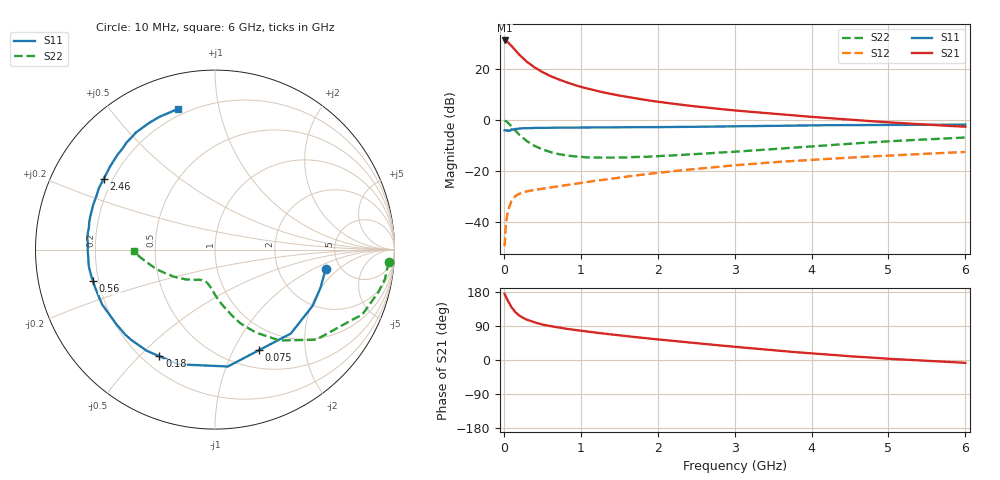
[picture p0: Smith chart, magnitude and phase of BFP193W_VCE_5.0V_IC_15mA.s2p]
! (c) 2016  Infineon Technologies AG, Munich
! Infineon Technologies  Discrete & RF Semiconductors
! BFP193W
! VCE = 5.0 V,  IC =  15 mA
! Common Emitter S-Parameters:  Jan 2016
# GHz  S  MA  R  50
!  f  S11  S21  S12  S22
! GHz  MAG  ANG  MAG  ANG  MAG  ANG  MAG  ANG
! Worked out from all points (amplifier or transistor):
!   210 points, 10 MHz to 6 GHz, reference 50 ohm
!   highest |S21| = 31.1 dB at 10 MHz (marker M1)
!   |S21| within 3 dB of that: start of sweep to 125.1 MHz
!   unconditionally stable (mu >= 1): 1.142 GHz to 4.34 GHz
!   at 185 MHz: K = 0.27, MSG = 27.6 dB, |S12| = -29.1 dB
!   at 1.52 GHz: K = 1.09, MAG = 14.1 dB, |S12| = -22.5 dB
!   at 6 GHz: K = 0.93, MSG = 4.9 dB, |S12| = -12.5 dB
!   S11 on the Smith chart (normalised r, x): 10 MHz: 3.83, -1.37; 75 MHz: 0.71, -1.27; 180 MHz: 0.27, -0.57; 560 MHz: 0.18, -0.12; 2.46 GHz: 0.17, +0.28; 6 GHz: 0.17, +0.76
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0.01  0.6262 -10.0  35.87 174.2  0.0034 85.3  0.9695 -4.1
0.02  0.625 -19.9  35.69 170.2  0.0065 79.3  0.9608 -10.0
0.03  0.6279 -29.7  35.21 165.7  0.0099 78.2  0.9405 -14.6
0.05  0.6302 -47.9  33.54 156.7  0.0157 70.0  0.8974 -23.7
0.075  0.6116 -66.2  30.46 148.5  0.0207 61.1  0.8159 -31.9
0.1  0.6552 -83.7  28.13 138.8  0.026 55.8  0.7545 -41.7
0.15  0.671 -107.7  23.01 125.9  0.0325 46.4  0.6203 -54.7
0.18  0.6699 -117.5  20.51 121.1  0.0345 43.2  0.5566 -59.6
0.2  0.68 -123.9  18.94 117.2  0.0359 41.3  0.5169 -63.6
0.24  0.6861 -132.7  16.58 112.4  0.038 38.9  0.4575 -68.8
0.3  0.6891 -143.0  13.69 106.2  0.0401 36.7  0.3843 -75.1
0.4  0.6993 -154.1  10.63 99.0  0.0429 35.5  0.3109 -82.5
0.56  0.7021 -165.5  7.822 91.3  0.0467 37.0  0.2481 -90.5
0.8  0.7069 -176.1  5.526 82.8  0.0528 40.6  0.2037 -98.5
1.02  0.7097 177.1  4.362 76.8  0.0591 43.7  0.1884 -104.3
1.4  0.7166 168.0  3.211 67.4  0.0713 47.3  0.1832 -111.5
2.02  0.7252 155.4  2.254 54.0  0.093 49.9  0.1969 -120.9
2.46  0.7346 147.7  1.864 45.2  0.109 49.9  0.2138 -127.9
3.1  0.7542 137.2  1.49 33.2  0.1333 48.0  0.2451 -138.7
4.1  0.788 122.8  1.12 16.0  0.1696 43.1  0.3121 -155.7
5.1  0.8019 112.1  0.879 2.3  0.2043 37.7  0.3892 -169.8
6  0.8108 104.7  0.737 -7.5  0.2368 32.9  0.4532 -178.8
